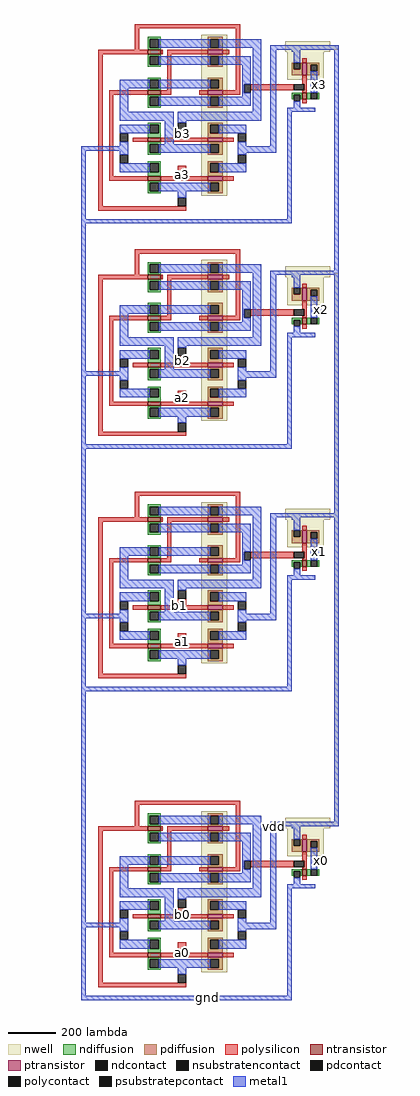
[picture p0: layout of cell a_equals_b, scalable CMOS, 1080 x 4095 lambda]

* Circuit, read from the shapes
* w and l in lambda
.subckt a_equals_b a0 a1 a2 a3 b0 b1 b2 b3 gnd vdd x0 x1 x2 x3
M1 gnd a0 n1 gnd nfet w=54 l=18
M2 gnd b0 n2 gnd nfet w=54 l=18
M3 n2 a0 n3 gnd nfet w=54 l=18
M4 b0 n1 n3 gnd nfet w=54 l=18
M5 gnd a1 n4 gnd nfet w=54 l=18
M6 gnd b1 n5 gnd nfet w=54 l=18
M7 n5 a1 n6 gnd nfet w=54 l=18
M8 b1 n4 n6 gnd nfet w=54 l=18
M9 gnd a2 n7 gnd nfet w=54 l=18
M10 gnd b2 n8 gnd nfet w=54 l=18
M11 n8 a2 n9 gnd nfet w=54 l=18
M12 b2 n7 n9 gnd nfet w=54 l=18
M13 gnd a3 n10 gnd nfet w=54 l=18
M14 gnd b3 n11 gnd nfet w=54 l=18
M15 n11 a3 n12 gnd nfet w=54 l=18
M16 b3 n10 n12 gnd nfet w=54 l=18
M17 x0 n3 gnd gnd nfet w=27 l=18
M18 x1 n6 gnd gnd nfet w=27 l=18
M19 x2 n9 gnd gnd nfet w=27 l=18
M20 x3 n12 gnd gnd nfet w=27 l=18
M21 vdd a0 n1 n13 pfet w=63 l=18
M22 vdd b0 n2 n13 pfet w=63 l=18
M23 n2 n1 n3 n13 pfet w=63 l=18
M24 b0 a0 n3 n13 pfet w=63 l=18
M25 vdd a1 n4 n14 pfet w=63 l=18
M26 vdd b1 n5 n14 pfet w=63 l=18
M27 n5 n4 n6 n14 pfet w=63 l=18
M28 b1 a1 n6 n14 pfet w=63 l=18
M29 vdd a2 n7 n15 pfet w=63 l=18
M30 vdd b2 n8 n15 pfet w=63 l=18
M31 n8 n7 n9 n15 pfet w=63 l=18
M32 b2 a2 n9 n15 pfet w=63 l=18
M33 vdd a3 n10 n16 pfet w=63 l=18
M34 vdd b3 n11 n16 pfet w=63 l=18
M35 n11 n10 n12 n16 pfet w=63 l=18
M36 b3 a3 n12 n16 pfet w=63 l=18
M37 x0 n3 vdd n17 pfet w=54 l=18
M38 x1 n6 vdd n17 pfet w=54 l=18
M39 x2 n9 vdd n18 pfet w=54 l=18
M40 x3 n12 vdd n19 pfet w=54 l=18
.ends

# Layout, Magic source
magic
tech scmos
magscale 9 1
<< nwell >>
rect -92 15 -80 90
rect -53 85 -32 87
rect -53 83 -28 85
rect -53 82 -32 83
rect -52 70 -35 82
rect -52 69 -45 70
rect -43 69 -35 70
rect -92 -90 -80 -15
rect -53 -23 -32 -18
rect -52 -35 -35 -23
rect -52 -36 -45 -35
rect -43 -36 -35 -35
rect -92 -203 -80 -128
rect -53 -133 -32 -131
rect -30 -133 -28 -21
rect -53 -135 -28 -133
rect -53 -136 -32 -135
rect -52 -148 -35 -136
rect -52 -149 -45 -148
rect -43 -149 -35 -148
rect -92 -347 -80 -272
rect -53 -277 -32 -275
rect -30 -277 -28 -135
rect -53 -279 -28 -277
rect -53 -280 -32 -279
rect -52 -292 -35 -280
rect -52 -293 -45 -292
rect -43 -293 -35 -292
<< ntransistor >>
rect -117 81 -111 83
rect -117 62 -111 64
rect -45 60 -43 63
rect -117 40 -111 42
rect -117 22 -111 24
rect -117 -24 -111 -22
rect -117 -43 -111 -41
rect -45 -45 -43 -42
rect -117 -65 -111 -63
rect -117 -83 -111 -81
rect -117 -137 -111 -135
rect -117 -156 -111 -154
rect -45 -158 -43 -155
rect -117 -178 -111 -176
rect -117 -196 -111 -194
rect -117 -281 -111 -279
rect -117 -300 -111 -298
rect -45 -302 -43 -299
rect -117 -322 -111 -320
rect -117 -340 -111 -338
<< ptransistor >>
rect -89 81 -82 83
rect -45 71 -43 77
rect -89 62 -82 64
rect -89 40 -82 42
rect -89 22 -82 24
rect -89 -24 -82 -22
rect -45 -34 -43 -28
rect -89 -43 -82 -41
rect -89 -65 -82 -63
rect -89 -83 -82 -81
rect -89 -137 -82 -135
rect -45 -147 -43 -141
rect -89 -156 -82 -154
rect -89 -178 -82 -176
rect -89 -196 -82 -194
rect -89 -281 -82 -279
rect -45 -291 -43 -285
rect -89 -300 -82 -298
rect -89 -322 -82 -320
rect -89 -340 -82 -338
<< ndiffusion >>
rect -117 88 -111 89
rect -117 84 -116 88
rect -112 84 -111 88
rect -117 83 -111 84
rect -117 80 -111 81
rect -117 76 -116 80
rect -112 76 -111 80
rect -117 75 -111 76
rect -117 69 -111 70
rect -117 65 -116 69
rect -112 65 -111 69
rect -117 64 -111 65
rect -50 62 -45 63
rect -117 61 -111 62
rect -117 57 -116 61
rect -112 57 -111 61
rect -117 56 -111 57
rect -50 60 -49 62
rect -46 60 -45 62
rect -43 60 -41 63
rect -38 60 -37 63
rect -117 48 -111 49
rect -117 44 -116 48
rect -112 44 -111 48
rect -117 42 -111 44
rect -117 39 -111 40
rect -117 35 -116 39
rect -112 35 -111 39
rect -117 34 -111 35
rect -117 30 -111 31
rect -117 26 -116 30
rect -112 26 -111 30
rect -117 24 -111 26
rect -117 21 -111 22
rect -117 17 -116 21
rect -112 17 -111 21
rect -117 16 -111 17
rect -117 -17 -111 -16
rect -117 -21 -116 -17
rect -112 -21 -111 -17
rect -117 -22 -111 -21
rect -117 -25 -111 -24
rect -117 -29 -116 -25
rect -112 -29 -111 -25
rect -117 -30 -111 -29
rect -117 -36 -111 -35
rect -117 -40 -116 -36
rect -112 -40 -111 -36
rect -117 -41 -111 -40
rect -50 -43 -45 -42
rect -117 -44 -111 -43
rect -117 -48 -116 -44
rect -112 -48 -111 -44
rect -117 -49 -111 -48
rect -50 -45 -49 -43
rect -46 -45 -45 -43
rect -43 -45 -41 -42
rect -38 -45 -37 -42
rect -117 -57 -111 -56
rect -117 -61 -116 -57
rect -112 -61 -111 -57
rect -117 -63 -111 -61
rect -117 -66 -111 -65
rect -117 -70 -116 -66
rect -112 -70 -111 -66
rect -117 -71 -111 -70
rect -117 -75 -111 -74
rect -117 -79 -116 -75
rect -112 -79 -111 -75
rect -117 -81 -111 -79
rect -117 -84 -111 -83
rect -117 -88 -116 -84
rect -112 -88 -111 -84
rect -117 -89 -111 -88
rect -117 -130 -111 -129
rect -117 -134 -116 -130
rect -112 -134 -111 -130
rect -117 -135 -111 -134
rect -117 -138 -111 -137
rect -117 -142 -116 -138
rect -112 -142 -111 -138
rect -117 -143 -111 -142
rect -117 -149 -111 -148
rect -117 -153 -116 -149
rect -112 -153 -111 -149
rect -117 -154 -111 -153
rect -50 -156 -45 -155
rect -117 -157 -111 -156
rect -117 -161 -116 -157
rect -112 -161 -111 -157
rect -117 -162 -111 -161
rect -50 -158 -49 -156
rect -46 -158 -45 -156
rect -43 -158 -41 -155
rect -38 -158 -37 -155
rect -117 -170 -111 -169
rect -117 -174 -116 -170
rect -112 -174 -111 -170
rect -117 -176 -111 -174
rect -117 -179 -111 -178
rect -117 -183 -116 -179
rect -112 -183 -111 -179
rect -117 -184 -111 -183
rect -117 -188 -111 -187
rect -117 -192 -116 -188
rect -112 -192 -111 -188
rect -117 -194 -111 -192
rect -117 -197 -111 -196
rect -117 -201 -116 -197
rect -112 -201 -111 -197
rect -117 -202 -111 -201
rect -117 -274 -111 -273
rect -117 -278 -116 -274
rect -112 -278 -111 -274
rect -117 -279 -111 -278
rect -117 -282 -111 -281
rect -117 -286 -116 -282
rect -112 -286 -111 -282
rect -117 -287 -111 -286
rect -117 -293 -111 -292
rect -117 -297 -116 -293
rect -112 -297 -111 -293
rect -117 -298 -111 -297
rect -50 -300 -45 -299
rect -117 -301 -111 -300
rect -117 -305 -116 -301
rect -112 -305 -111 -301
rect -117 -306 -111 -305
rect -50 -302 -49 -300
rect -46 -302 -45 -300
rect -43 -302 -41 -299
rect -38 -302 -37 -299
rect -117 -314 -111 -313
rect -117 -318 -116 -314
rect -112 -318 -111 -314
rect -117 -320 -111 -318
rect -117 -323 -111 -322
rect -117 -327 -116 -323
rect -112 -327 -111 -323
rect -117 -328 -111 -327
rect -117 -332 -111 -331
rect -117 -336 -116 -332
rect -112 -336 -111 -332
rect -117 -338 -111 -336
rect -117 -341 -111 -340
rect -117 -345 -116 -341
rect -112 -345 -111 -341
rect -117 -346 -111 -345
<< pdiffusion >>
rect -89 88 -82 89
rect -89 84 -88 88
rect -84 84 -82 88
rect -89 83 -82 84
rect -89 80 -82 81
rect -89 76 -88 80
rect -84 76 -82 80
rect -89 75 -82 76
rect -89 69 -82 70
rect -89 65 -88 69
rect -84 65 -82 69
rect -89 64 -82 65
rect -50 74 -49 77
rect -46 74 -45 77
rect -50 71 -45 74
rect -43 76 -37 77
rect -43 73 -41 76
rect -38 73 -37 76
rect -43 71 -37 73
rect -89 61 -82 62
rect -89 57 -88 61
rect -84 57 -82 61
rect -89 56 -82 57
rect -89 48 -82 49
rect -89 44 -88 48
rect -84 44 -82 48
rect -89 42 -82 44
rect -89 39 -82 40
rect -89 35 -88 39
rect -84 35 -82 39
rect -89 34 -82 35
rect -89 30 -82 31
rect -89 26 -88 30
rect -84 26 -82 30
rect -89 24 -82 26
rect -89 21 -82 22
rect -89 17 -88 21
rect -84 17 -82 21
rect -89 16 -82 17
rect -89 -17 -82 -16
rect -89 -21 -88 -17
rect -84 -21 -82 -17
rect -89 -22 -82 -21
rect -89 -25 -82 -24
rect -89 -29 -88 -25
rect -84 -29 -82 -25
rect -89 -30 -82 -29
rect -89 -36 -82 -35
rect -89 -40 -88 -36
rect -84 -40 -82 -36
rect -89 -41 -82 -40
rect -50 -31 -49 -28
rect -46 -31 -45 -28
rect -50 -34 -45 -31
rect -43 -29 -37 -28
rect -43 -32 -41 -29
rect -38 -32 -37 -29
rect -43 -34 -37 -32
rect -89 -44 -82 -43
rect -89 -48 -88 -44
rect -84 -48 -82 -44
rect -89 -49 -82 -48
rect -89 -57 -82 -56
rect -89 -61 -88 -57
rect -84 -61 -82 -57
rect -89 -63 -82 -61
rect -89 -66 -82 -65
rect -89 -70 -88 -66
rect -84 -70 -82 -66
rect -89 -71 -82 -70
rect -89 -75 -82 -74
rect -89 -79 -88 -75
rect -84 -79 -82 -75
rect -89 -81 -82 -79
rect -89 -84 -82 -83
rect -89 -88 -88 -84
rect -84 -88 -82 -84
rect -89 -89 -82 -88
rect -89 -130 -82 -129
rect -89 -134 -88 -130
rect -84 -134 -82 -130
rect -89 -135 -82 -134
rect -89 -138 -82 -137
rect -89 -142 -88 -138
rect -84 -142 -82 -138
rect -89 -143 -82 -142
rect -89 -149 -82 -148
rect -89 -153 -88 -149
rect -84 -153 -82 -149
rect -89 -154 -82 -153
rect -50 -144 -49 -141
rect -46 -144 -45 -141
rect -50 -147 -45 -144
rect -43 -142 -37 -141
rect -43 -145 -41 -142
rect -38 -145 -37 -142
rect -43 -147 -37 -145
rect -89 -157 -82 -156
rect -89 -161 -88 -157
rect -84 -161 -82 -157
rect -89 -162 -82 -161
rect -89 -170 -82 -169
rect -89 -174 -88 -170
rect -84 -174 -82 -170
rect -89 -176 -82 -174
rect -89 -179 -82 -178
rect -89 -183 -88 -179
rect -84 -183 -82 -179
rect -89 -184 -82 -183
rect -89 -188 -82 -187
rect -89 -192 -88 -188
rect -84 -192 -82 -188
rect -89 -194 -82 -192
rect -89 -197 -82 -196
rect -89 -201 -88 -197
rect -84 -201 -82 -197
rect -89 -202 -82 -201
rect -89 -274 -82 -273
rect -89 -278 -88 -274
rect -84 -278 -82 -274
rect -89 -279 -82 -278
rect -89 -282 -82 -281
rect -89 -286 -88 -282
rect -84 -286 -82 -282
rect -89 -287 -82 -286
rect -89 -293 -82 -292
rect -89 -297 -88 -293
rect -84 -297 -82 -293
rect -89 -298 -82 -297
rect -50 -288 -49 -285
rect -46 -288 -45 -285
rect -50 -291 -45 -288
rect -43 -286 -37 -285
rect -43 -289 -41 -286
rect -38 -289 -37 -286
rect -43 -291 -37 -289
rect -89 -301 -82 -300
rect -89 -305 -88 -301
rect -84 -305 -82 -301
rect -89 -306 -82 -305
rect -89 -314 -82 -313
rect -89 -318 -88 -314
rect -84 -318 -82 -314
rect -89 -320 -82 -318
rect -89 -323 -82 -322
rect -89 -327 -88 -323
rect -84 -327 -82 -323
rect -89 -328 -82 -327
rect -89 -332 -82 -331
rect -89 -336 -88 -332
rect -84 -336 -82 -332
rect -89 -338 -82 -336
rect -89 -341 -82 -340
rect -89 -345 -88 -341
rect -84 -345 -82 -341
rect -89 -346 -82 -345
<< ndcontact >>
rect -116 84 -112 88
rect -116 76 -112 80
rect -116 65 -112 69
rect -116 57 -112 61
rect -49 59 -46 62
rect -41 60 -38 63
rect -116 44 -112 48
rect -116 35 -112 39
rect -116 26 -112 30
rect -116 17 -112 21
rect -116 -21 -112 -17
rect -116 -29 -112 -25
rect -116 -40 -112 -36
rect -116 -48 -112 -44
rect -49 -46 -46 -43
rect -41 -45 -38 -42
rect -116 -61 -112 -57
rect -116 -70 -112 -66
rect -116 -79 -112 -75
rect -116 -88 -112 -84
rect -116 -134 -112 -130
rect -116 -142 -112 -138
rect -116 -153 -112 -149
rect -116 -161 -112 -157
rect -49 -159 -46 -156
rect -41 -158 -38 -155
rect -116 -174 -112 -170
rect -116 -183 -112 -179
rect -116 -192 -112 -188
rect -116 -201 -112 -197
rect -116 -278 -112 -274
rect -116 -286 -112 -282
rect -116 -297 -112 -293
rect -116 -305 -112 -301
rect -49 -303 -46 -300
rect -41 -302 -38 -299
rect -116 -318 -112 -314
rect -116 -327 -112 -323
rect -116 -336 -112 -332
rect -116 -345 -112 -341
<< pdcontact >>
rect -88 84 -84 88
rect -88 76 -84 80
rect -88 65 -84 69
rect -49 74 -46 77
rect -41 73 -38 76
rect -88 57 -84 61
rect -88 44 -84 48
rect -88 35 -84 39
rect -88 26 -84 30
rect -88 17 -84 21
rect -88 -21 -84 -17
rect -88 -29 -84 -25
rect -88 -40 -84 -36
rect -49 -31 -46 -28
rect -41 -32 -38 -29
rect -88 -48 -84 -44
rect -88 -61 -84 -57
rect -88 -70 -84 -66
rect -88 -79 -84 -75
rect -88 -88 -84 -84
rect -88 -134 -84 -130
rect -88 -142 -84 -138
rect -88 -153 -84 -149
rect -49 -144 -46 -141
rect -41 -145 -38 -142
rect -88 -161 -84 -157
rect -88 -174 -84 -170
rect -88 -183 -84 -179
rect -88 -192 -84 -188
rect -88 -201 -84 -197
rect -88 -278 -84 -274
rect -88 -286 -84 -282
rect -88 -297 -84 -293
rect -49 -288 -46 -285
rect -41 -289 -38 -286
rect -88 -305 -84 -301
rect -88 -318 -84 -314
rect -88 -327 -84 -323
rect -88 -336 -84 -332
rect -88 -345 -84 -341
<< psubstratepcontact >>
rect -130 40 -126 44
rect -130 30 -126 34
rect -130 -65 -126 -61
rect -130 -75 -126 -71
rect -130 -178 -126 -174
rect -130 -188 -126 -184
rect -130 -322 -126 -318
rect -130 -332 -126 -328
<< nsubstratencontact >>
rect -75 40 -71 44
rect -75 30 -71 34
rect -75 -65 -71 -61
rect -75 -75 -71 -71
rect -75 -178 -71 -174
rect -75 -188 -71 -184
rect -75 -322 -71 -318
rect -75 -332 -71 -328
<< polysilicon >>
rect -123 93 -74 95
rect -123 83 -121 93
rect -140 81 -117 83
rect -111 81 -110 83
rect -108 81 -89 83
rect -82 81 -79 83
rect -140 10 -138 81
rect -108 64 -106 81
rect -76 64 -74 93
rect -45 77 -43 79
rect -45 67 -43 71
rect -135 62 -117 64
rect -111 62 -106 64
rect -93 62 -89 64
rect -82 62 -74 64
rect -69 64 -49 67
rect -44 64 -43 67
rect -45 63 -43 64
rect -135 24 -133 62
rect -45 58 -43 60
rect -103 42 -99 45
rect -124 40 -117 42
rect -111 40 -89 42
rect -82 40 -77 42
rect -103 24 -99 29
rect -135 22 -117 24
rect -111 22 -89 24
rect -82 22 -77 24
rect -140 8 -99 10
rect -123 -12 -74 -10
rect -123 -22 -121 -12
rect -140 -24 -117 -22
rect -111 -24 -110 -22
rect -108 -24 -89 -22
rect -82 -24 -79 -22
rect -140 -95 -138 -24
rect -108 -41 -106 -24
rect -76 -41 -74 -12
rect -45 -28 -43 -26
rect -45 -38 -43 -34
rect -135 -43 -117 -41
rect -111 -43 -106 -41
rect -93 -43 -89 -41
rect -82 -43 -74 -41
rect -69 -41 -49 -38
rect -44 -41 -43 -38
rect -45 -42 -43 -41
rect -135 -81 -133 -43
rect -45 -47 -43 -45
rect -103 -63 -99 -60
rect -124 -65 -117 -63
rect -111 -65 -89 -63
rect -82 -65 -77 -63
rect -103 -81 -99 -76
rect -135 -83 -117 -81
rect -111 -83 -89 -81
rect -82 -83 -77 -81
rect -140 -97 -99 -95
rect -123 -125 -74 -123
rect -123 -135 -121 -125
rect -140 -137 -117 -135
rect -111 -137 -110 -135
rect -108 -137 -89 -135
rect -82 -137 -79 -135
rect -140 -208 -138 -137
rect -108 -154 -106 -137
rect -76 -154 -74 -125
rect -45 -141 -43 -139
rect -45 -151 -43 -147
rect -135 -156 -117 -154
rect -111 -156 -106 -154
rect -93 -156 -89 -154
rect -82 -156 -74 -154
rect -69 -154 -49 -151
rect -44 -154 -43 -151
rect -45 -155 -43 -154
rect -135 -194 -133 -156
rect -45 -160 -43 -158
rect -103 -176 -99 -173
rect -124 -178 -117 -176
rect -111 -178 -89 -176
rect -82 -178 -77 -176
rect -103 -194 -99 -189
rect -135 -196 -117 -194
rect -111 -196 -89 -194
rect -82 -196 -77 -194
rect -140 -210 -99 -208
rect -123 -269 -74 -267
rect -123 -279 -121 -269
rect -140 -281 -117 -279
rect -111 -281 -110 -279
rect -108 -281 -89 -279
rect -82 -281 -79 -279
rect -140 -352 -138 -281
rect -108 -298 -106 -281
rect -76 -298 -74 -269
rect -45 -285 -43 -283
rect -45 -295 -43 -291
rect -135 -300 -117 -298
rect -111 -300 -106 -298
rect -93 -300 -89 -298
rect -82 -300 -74 -298
rect -69 -298 -49 -295
rect -44 -298 -43 -295
rect -45 -299 -43 -298
rect -135 -338 -133 -300
rect -45 -304 -43 -302
rect -103 -320 -99 -317
rect -124 -322 -117 -320
rect -111 -322 -89 -320
rect -82 -322 -77 -320
rect -103 -338 -99 -333
rect -135 -340 -117 -338
rect -111 -340 -89 -338
rect -82 -340 -77 -338
rect -140 -354 -99 -352
<< polycontact >>
rect -72 63 -69 67
rect -49 64 -44 67
rect -103 45 -99 49
rect -103 10 -99 14
rect -72 -42 -69 -38
rect -49 -41 -44 -38
rect -103 -60 -99 -56
rect -103 -95 -99 -91
rect -72 -155 -69 -151
rect -49 -154 -44 -151
rect -103 -173 -99 -169
rect -103 -208 -99 -204
rect -72 -299 -69 -295
rect -49 -298 -44 -295
rect -103 -317 -99 -313
rect -103 -352 -99 -348
<< metal1 >>
rect -112 84 -88 88
rect -84 84 -64 88
rect -112 76 -88 80
rect -84 76 -69 80
rect -130 65 -116 69
rect -112 65 -88 69
rect -73 67 -69 76
rect -130 54 -126 65
rect -73 63 -72 67
rect -73 61 -69 63
rect -112 57 -88 61
rect -84 57 -69 61
rect -68 54 -64 84
rect -130 50 -105 54
rect -130 44 -116 48
rect -130 38 -126 40
rect -109 39 -105 50
rect -103 50 -64 54
rect -60 83 -28 85
rect -103 49 -99 50
rect -84 44 -71 48
rect -148 36 -126 38
rect -148 4 -146 36
rect -130 34 -126 36
rect -112 35 -88 39
rect -75 38 -71 40
rect -60 38 -57 83
rect -50 82 -46 83
rect -49 77 -46 82
rect -41 68 -38 73
rect -41 65 -35 68
rect -41 63 -38 65
rect -49 56 -46 59
rect -75 35 -57 38
rect -52 54 -39 56
rect -75 34 -71 35
rect -130 26 -116 30
rect -84 26 -71 30
rect -112 17 -88 21
rect -103 14 -99 17
rect -52 4 -50 54
rect -148 2 -50 4
rect -148 -67 -146 2
rect -112 -21 -88 -17
rect -84 -21 -64 -17
rect -30 -20 -28 83
rect -112 -29 -88 -25
rect -84 -29 -69 -25
rect -130 -40 -116 -36
rect -112 -40 -88 -36
rect -73 -38 -69 -29
rect -130 -51 -126 -40
rect -73 -42 -72 -38
rect -73 -44 -69 -42
rect -112 -48 -88 -44
rect -84 -48 -69 -44
rect -68 -51 -64 -21
rect -130 -55 -105 -51
rect -130 -61 -116 -57
rect -130 -67 -126 -65
rect -109 -66 -105 -55
rect -103 -55 -64 -51
rect -60 -22 -28 -20
rect -103 -56 -99 -55
rect -84 -61 -71 -57
rect -148 -69 -126 -67
rect -148 -101 -146 -69
rect -130 -71 -126 -69
rect -112 -70 -88 -66
rect -75 -67 -71 -65
rect -60 -67 -57 -22
rect -50 -23 -46 -22
rect -49 -28 -46 -23
rect -41 -37 -38 -32
rect -41 -40 -35 -37
rect -41 -42 -38 -40
rect -49 -49 -46 -46
rect -75 -70 -57 -67
rect -52 -51 -39 -49
rect -75 -71 -71 -70
rect -130 -79 -116 -75
rect -84 -79 -71 -75
rect -112 -88 -88 -84
rect -103 -91 -99 -88
rect -52 -101 -50 -51
rect -148 -103 -50 -101
rect -148 -180 -146 -103
rect -112 -134 -88 -130
rect -84 -134 -64 -130
rect -30 -133 -28 -22
rect -112 -142 -88 -138
rect -84 -142 -69 -138
rect -130 -153 -116 -149
rect -112 -153 -88 -149
rect -73 -151 -69 -142
rect -130 -164 -126 -153
rect -73 -155 -72 -151
rect -73 -157 -69 -155
rect -112 -161 -88 -157
rect -84 -161 -69 -157
rect -68 -164 -64 -134
rect -130 -168 -105 -164
rect -130 -174 -116 -170
rect -130 -180 -126 -178
rect -109 -179 -105 -168
rect -103 -168 -64 -164
rect -60 -135 -28 -133
rect -103 -169 -99 -168
rect -84 -174 -71 -170
rect -148 -182 -126 -180
rect -148 -214 -146 -182
rect -130 -184 -126 -182
rect -112 -183 -88 -179
rect -75 -180 -71 -178
rect -60 -180 -57 -135
rect -50 -136 -46 -135
rect -49 -141 -46 -136
rect -41 -150 -38 -145
rect -41 -153 -35 -150
rect -41 -155 -38 -153
rect -49 -162 -46 -159
rect -75 -183 -57 -180
rect -52 -164 -39 -162
rect -75 -184 -71 -183
rect -130 -192 -116 -188
rect -84 -192 -71 -188
rect -112 -201 -88 -197
rect -103 -204 -99 -201
rect -52 -214 -50 -164
rect -148 -216 -50 -214
rect -148 -324 -146 -216
rect -112 -278 -88 -274
rect -84 -278 -64 -274
rect -30 -277 -28 -135
rect -112 -286 -88 -282
rect -84 -286 -69 -282
rect -130 -297 -116 -293
rect -112 -297 -88 -293
rect -73 -295 -69 -286
rect -130 -308 -126 -297
rect -73 -299 -72 -295
rect -73 -301 -69 -299
rect -112 -305 -88 -301
rect -84 -305 -69 -301
rect -68 -308 -64 -278
rect -130 -312 -105 -308
rect -130 -318 -116 -314
rect -130 -324 -126 -322
rect -109 -323 -105 -312
rect -103 -312 -64 -308
rect -60 -279 -28 -277
rect -103 -313 -99 -312
rect -84 -318 -71 -314
rect -148 -326 -126 -324
rect -148 -358 -146 -326
rect -130 -328 -126 -326
rect -112 -327 -88 -323
rect -75 -324 -71 -322
rect -60 -324 -57 -279
rect -50 -280 -46 -279
rect -49 -285 -46 -280
rect -41 -294 -38 -289
rect -41 -297 -35 -294
rect -41 -299 -38 -297
rect -49 -306 -46 -303
rect -75 -327 -57 -324
rect -52 -308 -39 -306
rect -75 -328 -71 -327
rect -130 -336 -116 -332
rect -84 -336 -71 -332
rect -112 -345 -88 -341
rect -103 -348 -99 -345
rect -52 -358 -50 -308
rect -148 -360 -50 -358
<< labels >>
rlabel metal1 -89 -359 -89 -359 1 gnd
rlabel metal1 -58 -279 -58 -279 1 vdd
rlabel metal1 -36 -295 -36 -295 1 x0
rlabel polysilicon -101 -320 -101 -320 1 b0
rlabel polysilicon -101 -338 -101 -338 1 a0
rlabel polysilicon -101 -193 -101 -193 1 a1
rlabel polysilicon -102 -176 -102 -176 1 b1
rlabel metal1 -37 -151 -37 -151 1 x1
rlabel polysilicon -101 -79 -101 -79 1 a2
rlabel polysilicon -101 -62 -101 -62 1 b2
rlabel metal1 -36 -38 -36 -38 1 x2
rlabel polysilicon -101 25 -101 25 1 a3
rlabel polysilicon -101 44 -101 44 1 b3
rlabel metal1 -37 67 -37 67 1 x3
<< end >>
